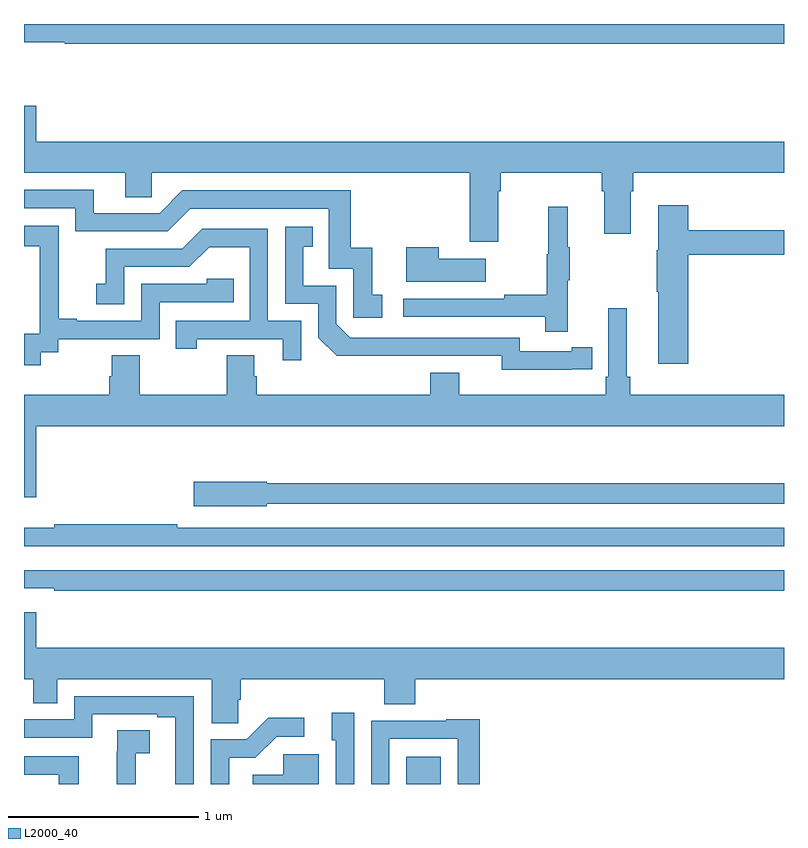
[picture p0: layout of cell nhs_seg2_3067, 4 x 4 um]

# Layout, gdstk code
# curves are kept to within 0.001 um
import gdstk
lib = gdstk.Library(unit=1e-6, precision=1e-09)
def R(c, l, rs):  # rectangles x0, y0, x1, y1
    for r in rs: c.add(gdstk.rectangle(r[:2], r[2:], *l))
def P(c, l, *ps):  # polygons
    for p in ps: c.add(gdstk.Polygon(p, *l))
L2000_40 = (2000, 40)

nhs_seg2_3067 = lib.new_cell('nhs_seg2_3067')
R(nhs_seg2_3067, L2000_40, [(275.012,597.8,275.194,597.943)])
P(nhs_seg2_3067, L2000_40, [(277,601.8),(273,601.8),(273,601.704),(273.214,601.704),(273.214,601.696),(277,601.696)],
  [(275.497,600.92),(275.51,600.92),(275.51,601.016),(276.041,601.016),(276.041,600.92),(276.053,600.92),(276.053,600.696),(276.193,600.696),(276.193,600.92),(276.206,600.92),(276.206,601.016),(277,601.016),(277,601.18),(273.064,601.18),(273.064,601.369),(273,601.369),(273,601.016),(273.533,601.016),(273.533,600.889),(273.672,600.889),(273.672,601.016),(275.345,601.016),(275.345,600.654),(275.497,600.654)],
  [(274.885,600.375),(274.832,600.375),(274.832,600.622),(274.721,600.622),(274.721,600.924),(273.834,600.924),(273.714,600.804),(273.367,600.804),(273.367,600.927),(273,600.927),(273,600.831),(273.27,600.831),(273.27,600.708),(273.756,600.708),(273.876,600.828),(274.605,600.828),(274.605,600.513),(274.734,600.513),(274.734,600.255),(274.885,600.255)],
  [(276.497,600.586),(277,600.586),(277,600.715),(276.497,600.715),(276.497,600.847),(276.338,600.847),(276.338,600.609),(276.331,600.609),(276.331,600.391),(276.338,600.391),(276.338,600.012),(276.497,600.012)],
  [(275.861,600.451),(275.872,600.451),(275.872,600.625),(275.861,600.625),(275.861,600.838),(275.758,600.838),(275.758,600.588),(275.751,600.588),(275.751,600.374),(275.527,600.374),(275.527,600.354),(274.995,600.354),(274.995,600.258),(275.743,600.258),(275.743,600.18),(275.861,600.18)],
  [(273.088,600.073),(273.18,600.073),(273.18,600.141),(273.714,600.141),(273.714,600.336),(274.103,600.336),(274.103,600.459),(273.963,600.459),(273.963,600.432),(273.618,600.432),(273.618,600.237),(273.277,600.237),(273.277,600.25),(273.182,600.25),(273.182,600.533),(273.183,600.533),(273.183,600.739),(273,600.739),(273,600.629),(273.083,600.629),(273.083,600.401),(273.084,600.401),(273.084,600.171),(273,600.171),(273,600.003),(273.088,600.003)],
  [(275.882,599.982),(275.99,599.982),(275.99,600.098),(275.882,600.098),(275.882,600.078),(275.61,600.078),(275.61,600.15),(274.716,600.15),(274.644,600.222),(274.644,600.423),(274.471,600.423),(274.471,600.627),(274.52,600.627),(274.52,600.733),(274.374,600.733),(274.374,600.327),(274.548,600.327),(274.548,600.15),(274.646,600.053),(275.514,600.054),(275.514,599.981)],
  [(274.458,600.237),(274.284,600.237),(274.284,600.723),(273.938,600.723),(273.833,600.618),(273.43,600.618),(273.43,600.433),(273.381,600.433),(273.381,600.324),(273.528,600.324),(273.528,600.522),(273.87,600.522),(273.974,600.626),(274.188,600.626),(274.188,600.237),(273.799,600.237),(273.799,600.09),(273.91,600.09),(273.91,600.141),(274.361,600.141),(274.361,600.03),(274.458,600.03)],
  [(275.431,600.565),(275.183,600.565),(275.183,600.625),(275.012,600.625),(275.012,600.443),(275.431,600.443)],
  [(273.064,599.684),(277,599.684),(277,599.848),(276.191,599.848),(276.191,599.944),(276.172,599.944),(276.172,600.304),(276.075,600.304),(276.075,599.944),(276.062,599.944),(276.062,599.848),(275.29,599.848),(275.29,599.965),(275.138,599.965),(275.138,599.848),(274.226,599.848),(274.226,599.946),(274.213,599.946),(274.213,600.056),(274.066,600.056),(274.066,599.848),(273.609,599.848),(273.609,600.056),(273.461,600.056),(273.461,599.946),(273.449,599.946),(273.449,599.848),(273,599.848),(273,599.31),(273.064,599.31)],
  [(274.278,599.274),(277,599.274),(277,599.383),(274.278,599.383),(274.278,599.391),(273.894,599.391),(273.894,599.261),(274.278,599.261)],
  [(277,599.148),(273.806,599.148),(273.806,599.168),(273.16,599.168),(273.16,599.149),(273,599.149),(273,599.052),(277,599.052)],
  [(277,598.926),(273,598.926),(273,598.83),(273.16,598.83),(273.16,598.818),(277,598.818)],
  [(274.128,598.243),(274.142,598.243),(274.142,598.352),(274.895,598.352),(274.895,598.219),(275.06,598.219),(275.06,598.352),(277,598.352),(277,598.516),(273.064,598.516),(273.064,598.705),(273,598.705),(273,598.352),(273.048,598.352),(273.048,598.225),(273.175,598.225),(273.175,598.352),(273.989,598.352),(273.989,598.12),(274.128,598.12)],
  [(273.894,598.263),(273.264,598.263),(273.264,598.14),(273,598.14),(273,598.044),(273.36,598.044),(273.36,598.167),(273.701,598.167),(273.701,598.152),(273.797,598.152),(273.797,597.8),(273.894,597.8)],
  [(274.737,598.174),(274.619,598.174),(274.619,598.029),(274.641,598.029),(274.641,597.8),(274.737,597.8)],
  [(274.08,597.939),(274.218,597.939),(274.329,598.05),(274.474,598.05),(274.474,598.148),(274.286,598.148),(274.173,598.035),(273.984,598.035),(273.984,597.8),(274.08,597.8)],
  [(274.923,598.038),(275.283,598.038),(275.283,597.8),(275.399,597.8),(275.399,598.141),(275.223,598.141),(275.223,598.134),(274.827,598.134),(274.827,597.8),(274.923,597.8)],
  [(273.587,597.961),(273.661,597.961),(273.661,598.082),(273.49,598.082),(273.49,597.971),(273.488,597.971),(273.488,597.8),(273.587,597.8)],
  [(274.552,597.957),(274.365,597.957),(274.365,597.85),(274.203,597.85),(274.203,597.8),(274.552,597.8)],
  [(273.289,597.945),(273,597.945),(273,597.849),(273.182,597.849),(273.182,597.8),(273.289,597.8)])

lib.write_gds('nhs_seg2_3067.gds')
